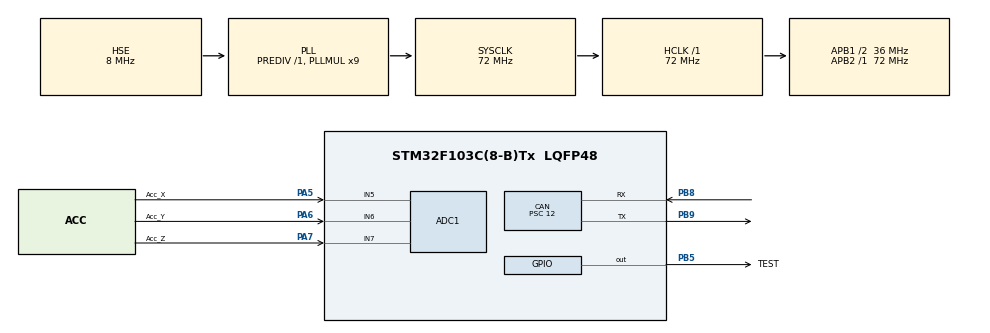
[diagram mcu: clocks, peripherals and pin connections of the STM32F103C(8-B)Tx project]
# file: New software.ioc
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ADC1.Channel-0\#ChannelRegularConversion=ADC_CHANNEL_5
ADC1.Channel-1\#ChannelRegularConversion=ADC_CHANNEL_6
ADC1.Channel-2\#ChannelRegularConversion=ADC_CHANNEL_7
ADC1.Channel-3\#ChannelRegularConversion=ADC_CHANNEL_TEMPSENSOR
ADC1.ContinuousConvMode=ENABLE
ADC1.EnableAnalogWatchDog=false
ADC1.NbrOfConversion=4
ADC1.NbrOfConversionFlag=1
ADC1.Rank-0\#ChannelRegularConversion=1
ADC1.Rank-1\#ChannelRegularConversion=2
ADC1.Rank-2\#ChannelRegularConversion=3
ADC1.Rank-3\#ChannelRegularConversion=4
ADC1.SamplingTime-0\#ChannelRegularConversion=ADC_SAMPLETIME_239CYCLES_5
ADC1.SamplingTime-1\#ChannelRegularConversion=ADC_SAMPLETIME_239CYCLES_5
ADC1.SamplingTime-2\#ChannelRegularConversion=ADC_SAMPLETIME_239CYCLES_5
ADC1.SamplingTime-3\#ChannelRegularConversion=ADC_SAMPLETIME_239CYCLES_5
ADC1.master=1
CAN.BS1=CAN_BS1_3TQ
CAN.BS2=CAN_BS2_2TQ
CAN.CalculateBaudRate=499999
CAN.CalculateTimeBit=2000
CAN.CalculateTimeQuantum=333.33333333333337
CAN.Mode=CAN_MODE_NORMAL
CAN.NART=ENABLE
CAN.Prescaler=12
Dma.ADC1.0.Direction=DMA_PERIPH_TO_MEMORY
Dma.ADC1.0.Instance=DMA1_Channel1
Dma.ADC1.0.MemDataAlignment=DMA_MDATAALIGN_WORD
Dma.ADC1.0.MemInc=DMA_MINC_ENABLE
Dma.ADC1.0.Mode=DMA_CIRCULAR
Dma.ADC1.0.PeriphDataAlignment=DMA_PDATAALIGN_WORD
Dma.ADC1.0.PeriphInc=DMA_PINC_DISABLE
Dma.ADC1.0.Priority=DMA_PRIORITY_HIGH
Dma.Request0=ADC1
Mcu.Family=STM32F1
Mcu.Name=STM32F103C(8-B)Tx
Mcu.Package=LQFP48
NVIC.DMA1_Channel1_IRQn=true\:0\:0\:false\:false\:true\:false\:true\:true
NVIC.PriorityGroup=NVIC_PRIORITYGROUP_4
NVIC.TIM4_IRQn=true\:0\:0\:false\:false\:true\:true\:true\:true
PA13.Mode=Serial_Wire
PA13.Signal=SYS_JTMS-SWDIO
PA14.Mode=Serial_Wire
PA14.Signal=SYS_JTCK-SWCLK
PA5.GPIO_Label=Acc_X
PA5.Signal=ADCx_IN5
PA6.GPIO_Label=Acc_Y
PA6.Signal=ADCx_IN6
PA7.GPIO_Label=Acc_Z
PA7.Signal=ADCx_IN7
PB5.GPIO_Label=TEST
PB5.GPIO_PuPd=GPIO_PULLDOWN
PB5.Signal=GPIO_Output
PB8.Mode=CAN_Activate
PB8.Signal=CAN_RX
PB9.Mode=CAN_Activate
PB9.Signal=CAN_TX
PC14-OSC32_IN.Mode=LSE-External-Oscillator
PC14-OSC32_IN.Signal=RCC_OSC32_IN
PC15-OSC32_OUT.Mode=LSE-External-Oscillator
PC15-OSC32_OUT.Signal=RCC_OSC32_OUT
PD0-OSC_IN.Mode=HSE-External-Oscillator
PD0-OSC_IN.Signal=RCC_OSC_IN
PD1-OSC_OUT.Mode=HSE-External-Oscillator
PD1-OSC_OUT.Signal=RCC_OSC_OUT
ProjectManager.HeapSize=0x200
ProjectManager.StackSize=0x400
ProjectManager.TargetToolchain=MDK-ARM V5.32
RCC.ADCPresc=RCC_ADCPCLK2_DIV6
RCC.AHBFreq_Value=72000000
RCC.APB1CLKDivider=RCC_HCLK_DIV2
RCC.APB1Freq_Value=36000000
RCC.APB1TimFreq_Value=72000000
RCC.APB2Freq_Value=72000000
RCC.APB2TimFreq_Value=72000000
RCC.HCLKFreq_Value=72000000
RCC.PLLMUL=RCC_PLL_MUL9
RCC.PLLSourceVirtual=RCC_PLLSOURCE_HSE
RCC.SYSCLKFreq_VALUE=72000000
RCC.SYSCLKSource=RCC_SYSCLKSOURCE_PLLCLK
RCC.USBFreq_Value=72000000
SH.ADCx_IN5.0=ADC1_IN5,IN5
SH.ADCx_IN6.0=ADC1_IN6,IN6
SH.ADCx_IN7.0=ADC1_IN7,IN7
TIM4.Period=1
TIM4.Prescaler=18000-1
VP_ADC1_TempSens_Input.Mode=IN-TempSens
VP_TIM4_VS_ClockSourceINT.Mode=Internal
board=custom

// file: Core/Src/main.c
/* USER CODE BEGIN Header */
/**
  ******************************************************************************
  * @file           : main.c
  * @brief          : Main program body
  ******************************************************************************
  * @attention
  *
  * Copyright (c) 2023 STMicroelectronics.
  * All rights reserved.
  *
  * This software is licensed under terms that can be found in the LICENSE file
  * in the root directory of this software component.
  * If no LICENSE file comes with this software, it is provided AS-IS.
  *
  ******************************************************************************
  */
/* USER CODE END Header */
#include "main.h"

ADC_HandleTypeDef hadc1;
DMA_HandleTypeDef hdma_adc1;

CAN_HandleTypeDef hcan;

TIM_HandleTypeDef htim4;

/* USER CODE BEGIN PV */
uint8_t ACC_BUFFER_SIZE = 7;
CAN_TxHeaderTypeDef Tx1Header;
uint8_t TxData_ACC[7] = {0};

// UNCOMMENT THE PROPER ID WHEN PROGRAMMING!

//uint32_t TX_ID = 11;	// ID for front ACC
uint32_t TX_ID = 33; // ID for rear ACC

uint32_t mailbox;
CAN_FilterTypeDef sFilterConfig;
uint16_t TxTime = 5;
uint16_t tenth_ms = 0;
uint16_t tenth_ms1 = 0;
uint8_t averageCount = 5;
volatile uint8_t channel = 0;
volatile uint32_t averageTemp = 0;
volatile uint32_t averageValue[3] = {0};

uint32_t AD_DMA[4] = {0};
uint16_t X = 0;
uint16_t Y = 0;
uint16_t Z = 0;
float OFFSET = 3000;

float X_Volt = 0;
float Y_Volt = 0;
float Z_Volt = 0;

float X_Volt_Change = 0;
float Y_Volt_Change = 0;
float Z_Volt_Change = 0;

float Xg = 0;
float Yg = 0;
float Zg = 0;

uint16_t sensitivity_x = 300;
uint16_t sensitivity_y = 300;
uint16_t sensitivity_z = 300;

uint16_t Xmg = 0;
uint16_t Ymg = 0;
uint16_t Zmg = 0;

uint16_t mcu_temp = 0;
/* USER CODE END PV */

void SystemClock_Config(void);
static void MX_GPIO_Init(void);
static void MX_DMA_Init(void);
static void MX_ADC1_Init(void);
static void MX_CAN_Init(void);
static void MX_TIM4_Init(void);
/* USER CODE BEGIN PFP */
void CanDataTx_ACC(uint16_t);
void ADC_ValueAverage(void);
/* USER CODE END PFP */

/* USER CODE BEGIN 0 */
void HAL_TIM_PeriodElapsedCallback(TIM_HandleTypeDef *htim)
{
  if(tenth_ms >= TxTime)
  {
		//get the mcu temperature from dma register
		mcu_temp = (uint16_t)(357.558 - (float)AD_DMA[3] * 0.187364);

		CanDataTx_ACC(TX_ID);
		if(HAL_CAN_GetTxMailboxesFreeLevel(&hcan)){
			HAL_CAN_AddTxMessage(&hcan, &Tx1Header, TxData_ACC, &mailbox);
		}
		else{
			HAL_CAN_AbortTxRequest(&hcan, 0);
			HAL_CAN_AbortTxRequest(&hcan, 1);
			HAL_CAN_AbortTxRequest(&hcan, 2);
		}
		tenth_ms = 0;
  }
  if(htim->Instance==TIM4)
	{
    tenth_ms++;
		ADC_ValueAverage();
	}
}
/* USER CODE END 0 */

int main(void)
{

  /* MCU Configuration--------------------------------------------------------*/

  /* Reset of all peripherals, Initializes the Flash interface and the Systick. */
  HAL_Init();

  /* Configure the system clock */
  SystemClock_Config();

  /* Initialize all configured peripherals */
  MX_GPIO_Init();
  MX_DMA_Init();
  MX_ADC1_Init();
  MX_CAN_Init();
  MX_TIM4_Init();
  /* USER CODE BEGIN 2 */
	HAL_TIM_Base_Start_IT(&htim4);
	HAL_ADCEx_Calibration_Start(&hadc1);
	HAL_ADC_Start_DMA(&hadc1, AD_DMA, 4);
	__HAL_RCC_CAN1_CLK_ENABLE();
	//HAL_GPIO_WritePin(GPIOB, TEST_Pin, GPIO_PIN_SET);
  /* USER CODE END 2 */

  /* Infinite loop */
  /* USER CODE BEGIN WHILE */
  while (1)
  {
		//Calculate input voltage
		X = (float)averageValue[0];
		Y = (float)averageValue[1];
		Z = (float)averageValue[2];
		X_Volt= (X * 3300) / 4096;
		Y_Volt= (Y * 3300) / 4096;
		Z_Volt= (Z * 3300) / 4096;

		/*Xmg=(X_Volt*2.18)*1000;
		Ymg=(Y_Volt*2.18)*1000;
		Zmg=(Z_Volt*2.18)*1000;*/

		//Determine change in V
		X_Volt_Change = X_Volt - (3300 / 2.0);
		Y_Volt_Change = Y_Volt - (3300 / 2.0);
		Z_Volt_Change = Z_Volt - (3300 / 2.0);

		//Convert to G-Force
		Xg = (X_Volt_Change / sensitivity_x);
		Yg = (Y_Volt_Change / sensitivity_y);
		Zg = (Z_Volt_Change / sensitivity_z);
		Xmg = Xg*1000 + OFFSET;
		Ymg = Yg*1000 + OFFSET;
		Zmg = Zg*1000 + OFFSET;

		TxData_ACC[0] = Xmg & 0x00FF; //8 low bits
		TxData_ACC[1] = Xmg >> 8; //4 high bits

		TxData_ACC[2] = Ymg & 0x00FF; //8 low bits
		TxData_ACC[3] = Ymg >> 8; //4 high bits

		TxData_ACC[4] = Zmg & 0x00FF; //8 low bits
		TxData_ACC[5] = Zmg >> 8; //4 high bits

		TxData_ACC[6] = (uint8_t)mcu_temp;

		HAL_Delay(1);
    /* USER CODE END WHILE */

  }
}

void SystemClock_Config(void)
{
  RCC_OscInitTypeDef RCC_OscInitStruct = {0};
  RCC_ClkInitTypeDef RCC_ClkInitStruct = {0};
  RCC_PeriphCLKInitTypeDef PeriphClkInit = {0};

  /** Initializes the RCC Oscillators according to the specified parameters
  * in the RCC_OscInitTypeDef structure.
  */
  RCC_OscInitStruct.OscillatorType = RCC_OSCILLATORTYPE_HSE;
  RCC_OscInitStruct.HSEState = RCC_HSE_ON;
  RCC_OscInitStruct.HSEPredivValue = RCC_HSE_PREDIV_DIV1;
  RCC_OscInitStruct.HSIState = RCC_HSI_ON;
  RCC_OscInitStruct.PLL.PLLState = RCC_PLL_ON;
  RCC_OscInitStruct.PLL.PLLSource = RCC_PLLSOURCE_HSE;
  RCC_OscInitStruct.PLL.PLLMUL = RCC_PLL_MUL9;
  if (HAL_RCC_OscConfig(&RCC_OscInitStruct) != HAL_OK)
  {
    Error_Handler();
  }

  /** Initializes the CPU, AHB and APB buses clocks
  */
  RCC_ClkInitStruct.ClockType = RCC_CLOCKTYPE_HCLK|RCC_CLOCKTYPE_SYSCLK
                              |RCC_CLOCKTYPE_PCLK1|RCC_CLOCKTYPE_PCLK2;
  RCC_ClkInitStruct.SYSCLKSource = RCC_SYSCLKSOURCE_PLLCLK;
  RCC_ClkInitStruct.AHBCLKDivider = RCC_SYSCLK_DIV1;
  RCC_ClkInitStruct.APB1CLKDivider = RCC_HCLK_DIV2;
  RCC_ClkInitStruct.APB2CLKDivider = RCC_HCLK_DIV1;

  if (HAL_RCC_ClockConfig(&RCC_ClkInitStruct, FLASH_LATENCY_2) != HAL_OK)
  {
    Error_Handler();
  }
  PeriphClkInit.PeriphClockSelection = RCC_PERIPHCLK_ADC;
  PeriphClkInit.AdcClockSelection = RCC_ADCPCLK2_DIV6;
  if (HAL_RCCEx_PeriphCLKConfig(&PeriphClkInit) != HAL_OK)
  {
    Error_Handler();
  }
}

static void MX_ADC1_Init(void)
{

  ADC_ChannelConfTypeDef sConfig = {0};

  /** Common config
  */
  hadc1.Instance = ADC1;
  hadc1.Init.ScanConvMode = ADC_SCAN_ENABLE;
  hadc1.Init.ContinuousConvMode = ENABLE;
  hadc1.Init.DiscontinuousConvMode = DISABLE;
  hadc1.Init.ExternalTrigConv = ADC_SOFTWARE_START;
  hadc1.Init.DataAlign = ADC_DATAALIGN_RIGHT;
  hadc1.Init.NbrOfConversion = 4;
  if (HAL_ADC_Init(&hadc1) != HAL_OK)
  {
    Error_Handler();
  }

  /** Configure Regular Channel
  */
  sConfig.Channel = ADC_CHANNEL_5;
  sConfig.Rank = ADC_REGULAR_RANK_1;
  sConfig.SamplingTime = ADC_SAMPLETIME_239CYCLES_5;
  if (HAL_ADC_ConfigChannel(&hadc1, &sConfig) != HAL_OK)
  {
    Error_Handler();
  }

  /** Configure Regular Channel
  */
  sConfig.Channel = ADC_CHANNEL_6;
  sConfig.Rank = ADC_REGULAR_RANK_2;
  if (HAL_ADC_ConfigChannel(&hadc1, &sConfig) != HAL_OK)
  {
    Error_Handler();
  }

  /** Configure Regular Channel
  */
  sConfig.Channel = ADC_CHANNEL_7;
  sConfig.Rank = ADC_REGULAR_RANK_3;
  if (HAL_ADC_ConfigChannel(&hadc1, &sConfig) != HAL_OK)
  {
    Error_Handler();
  }

  /** Configure Regular Channel
  */
  sConfig.Channel = ADC_CHANNEL_TEMPSENSOR;
  sConfig.Rank = ADC_REGULAR_RANK_4;
  if (HAL_ADC_ConfigChannel(&hadc1, &sConfig) != HAL_OK)
  {
    Error_Handler();
  }

}

static void MX_CAN_Init(void)
{

  hcan.Instance = CAN1;
  hcan.Init.Prescaler = 12;
  hcan.Init.Mode = CAN_MODE_NORMAL;
  hcan.Init.SyncJumpWidth = CAN_SJW_1TQ;
  hcan.Init.TimeSeg1 = CAN_BS1_3TQ;
  hcan.Init.TimeSeg2 = CAN_BS2_2TQ;
  hcan.Init.TimeTriggeredMode = DISABLE;
  hcan.Init.AutoBusOff = DISABLE;
  hcan.Init.AutoWakeUp = DISABLE;
  hcan.Init.AutoRetransmission = ENABLE;
  hcan.Init.ReceiveFifoLocked = DISABLE;
  hcan.Init.TransmitFifoPriority = DISABLE;
  if (HAL_CAN_Init(&hcan) != HAL_OK)
  {
    Error_Handler();
  }
  /* USER CODE BEGIN CAN_Init 2 */
	sFilterConfig.FilterBank = 0;
	sFilterConfig.FilterMode = CAN_FILTERMODE_IDMASK;
	sFilterConfig.FilterScale = CAN_FILTERSCALE_32BIT;
	sFilterConfig.FilterIdHigh = 0xFFFF;
	sFilterConfig.FilterIdLow = 0x0000;
	sFilterConfig.FilterMaskIdHigh = 0xFFFF;
	sFilterConfig.FilterMaskIdLow = 0x0000;
	sFilterConfig.FilterFIFOAssignment = CAN_RX_FIFO0;
	sFilterConfig.FilterActivation = ENABLE;
	sFilterConfig.SlaveStartFilterBank = 0;

	if (HAL_CAN_ConfigFilter(&hcan, &sFilterConfig) != HAL_OK) {
	/* Filter configuration Error */
	Error_Handler();
	}

	/*##-3- Start the CAN peripheral ###########################################*/
	if (HAL_CAN_Start(&hcan) != HAL_OK) {
		/* Start Error */
		Error_Handler();
	}
	if (HAL_CAN_ActivateNotification(&hcan, CAN_IT_RX_FIFO0_MSG_PENDING | CAN_IT_TX_MAILBOX_EMPTY) != HAL_OK) {
		/* Notification Error */
		Error_Handler();
	}
  /* USER CODE END CAN_Init 2 */

}

static void MX_TIM4_Init(void)
{

  TIM_ClockConfigTypeDef sClockSourceConfig = {0};
  TIM_MasterConfigTypeDef sMasterConfig = {0};

  htim4.Instance = TIM4;
  htim4.Init.Prescaler = 18000-1;
  htim4.Init.CounterMode = TIM_COUNTERMODE_UP;
  htim4.Init.Period = 1;
  htim4.Init.ClockDivision = TIM_CLOCKDIVISION_DIV1;
  htim4.Init.AutoReloadPreload = TIM_AUTORELOAD_PRELOAD_DISABLE;
  if (HAL_TIM_Base_Init(&htim4) != HAL_OK)
  {
    Error_Handler();
  }
  sClockSourceConfig.ClockSource = TIM_CLOCKSOURCE_INTERNAL;
  if (HAL_TIM_ConfigClockSource(&htim4, &sClockSourceConfig) != HAL_OK)
  {
    Error_Handler();
  }
  sMasterConfig.MasterOutputTrigger = TIM_TRGO_RESET;
  sMasterConfig.MasterSlaveMode = TIM_MASTERSLAVEMODE_DISABLE;
  if (HAL_TIMEx_MasterConfigSynchronization(&htim4, &sMasterConfig) != HAL_OK)
  {
    Error_Handler();
  }

}

static void MX_DMA_Init(void)
{

  /* DMA controller clock enable */
  __HAL_RCC_DMA1_CLK_ENABLE();

  /* DMA interrupt init */
  /* DMA1_Channel1_IRQn interrupt configuration */
  HAL_NVIC_SetPriority(DMA1_Channel1_IRQn, 0, 0);
  HAL_NVIC_EnableIRQ(DMA1_Channel1_IRQn);

}

static void MX_GPIO_Init(void)
{
  GPIO_InitTypeDef GPIO_InitStruct = {0};

  /* GPIO Ports Clock Enable */
  __HAL_RCC_GPIOC_CLK_ENABLE();
  __HAL_RCC_GPIOD_CLK_ENABLE();
  __HAL_RCC_GPIOA_CLK_ENABLE();
  __HAL_RCC_GPIOB_CLK_ENABLE();

  /*Configure GPIO pin Output Level */
  HAL_GPIO_WritePin(TEST_GPIO_Port, TEST_Pin, GPIO_PIN_RESET);

  /*Configure GPIO pin : TEST_Pin */
  GPIO_InitStruct.Pin = TEST_Pin;
  GPIO_InitStruct.Mode = GPIO_MODE_OUTPUT_PP;
  GPIO_InitStruct.Pull = GPIO_PULLDOWN;
  GPIO_InitStruct.Speed = GPIO_SPEED_FREQ_LOW;
  HAL_GPIO_Init(TEST_GPIO_Port, &GPIO_InitStruct);

}

/* USER CODE BEGIN 4 */
void CanDataTx_ACC(uint16_t STDID)
{
	Tx1Header.StdId = STDID;
	Tx1Header.IDE = CAN_ID_STD;
	Tx1Header.RTR = CAN_RTR_DATA;
	Tx1Header.DLC = ACC_BUFFER_SIZE;
	Tx1Header.TransmitGlobalTime = DISABLE;
}

void ADC_ValueAverage(void){

	if(tenth_ms1 < averageCount){
		averageTemp = averageTemp + AD_DMA[channel];
		tenth_ms1++;
	}
	else{
		averageValue[channel] = averageTemp / averageCount;
		tenth_ms1 = 0;
		averageTemp = 0;
		if(channel < 2){
			channel++;
		}
		else{
			channel = 0;
		}
	}
}
/* USER CODE END 4 */

void Error_Handler(void)
{
  __disable_irq();
  while (1)
  {
  }
}
